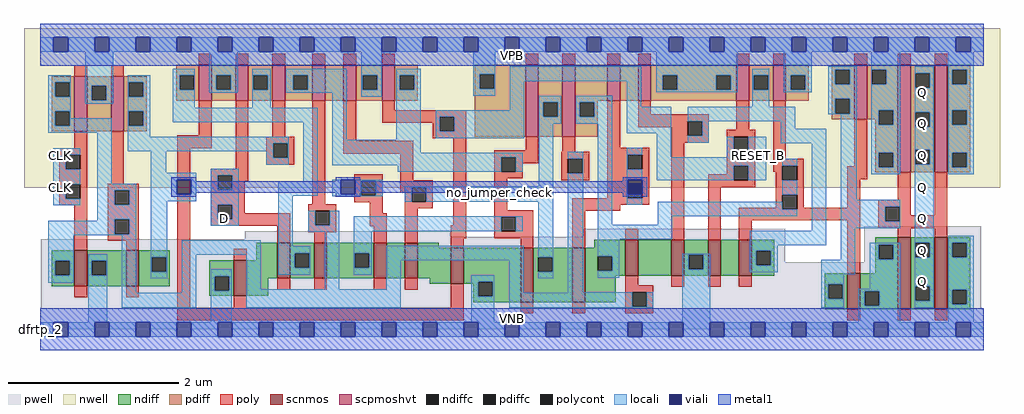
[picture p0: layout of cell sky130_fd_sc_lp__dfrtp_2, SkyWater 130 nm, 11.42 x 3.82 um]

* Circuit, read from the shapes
.subckt sky130_fd_sc_lp__dfrtp_2 CLK D RESET_B VGND VNB VPB VPWR Q
XM1 VGND CLK n1 VNB sky130_fd_pr__nfet_01v8 w=0.42 l=0.15
XM2 n2 n1 VGND VNB sky130_fd_pr__nfet_01v8 w=0.42 l=0.15
XM3 n3 RESET_B VGND VNB sky130_fd_pr__nfet_01v8 w=0.42 l=0.15
XM4 n4 D n3 VNB sky130_fd_pr__nfet_01v8 w=0.42 l=0.15
XM5 n5 n1 n4 VNB sky130_fd_pr__nfet_01v8 w=0.42 l=0.15
XM6 n6 n2 n5 VNB sky130_fd_pr__nfet_01v8 w=0.42 l=0.15
XM7 n7 n8 n6 VNB sky130_fd_pr__nfet_01v8 w=0.42 l=0.15
XM8 VGND RESET_B n7 VNB sky130_fd_pr__nfet_01v8 w=0.42 l=0.15
XM9 n8 n5 VGND VNB sky130_fd_pr__nfet_01v8 w=0.64 l=0.15
XM10 n9 n2 n8 VNB sky130_fd_pr__nfet_01v8 w=0.64 l=0.15
XM11 n10 n1 n9 VNB sky130_fd_pr__nfet_01v8 w=0.42 l=0.15
XM12 VGND n11 n10 VNB sky130_fd_pr__nfet_01v8 w=0.42 l=0.15
XM13 n12 RESET_B VGND VNB sky130_fd_pr__nfet_01v8 w=0.42 l=0.15
XM14 n11 n9 n12 VNB sky130_fd_pr__nfet_01v8 w=0.42 l=0.15
XM15 VGND n9 n13 VNB sky130_fd_pr__nfet_01v8 w=0.42 l=0.15
XM16 Q n13 VGND VNB sky130_fd_pr__nfet_01v8 w=0.84 l=0.15 m=2
XM17 VPWR CLK n1 VPB sky130_fd_pr__pfet_01v8_hvt w=0.64 l=0.15
XM18 n2 n1 VPWR VPB sky130_fd_pr__pfet_01v8_hvt w=0.64 l=0.15
XM19 VPWR RESET_B n4 VPB sky130_fd_pr__pfet_01v8_hvt w=0.42 l=0.15
XM20 n4 D VPWR VPB sky130_fd_pr__pfet_01v8_hvt w=0.42 l=0.15
XM21 n5 n2 n4 VPB sky130_fd_pr__pfet_01v8_hvt w=0.42 l=0.15
XM22 n14 n1 n5 VPB sky130_fd_pr__pfet_01v8_hvt w=0.42 l=0.15
XM23 VPWR n8 n14 VPB sky130_fd_pr__pfet_01v8_hvt w=0.42 l=0.15
XM24 n5 RESET_B VPWR VPB sky130_fd_pr__pfet_01v8_hvt w=0.42 l=0.15
XM25 n8 n5 VPWR VPB sky130_fd_pr__pfet_01v8_hvt w=0.84 l=0.15
XM26 n9 n1 n8 VPB sky130_fd_pr__pfet_01v8_hvt w=0.84 l=0.15
XM27 n15 n2 n9 VPB sky130_fd_pr__pfet_01v8_hvt w=0.42 l=0.15
XM28 VPWR n11 n15 VPB sky130_fd_pr__pfet_01v8_hvt w=0.42 l=0.15
XM29 n11 RESET_B VPWR VPB sky130_fd_pr__pfet_01v8_hvt w=0.42 l=0.15
XM30 VPWR n9 n11 VPB sky130_fd_pr__pfet_01v8_hvt w=0.42 l=0.15
XM31 VPWR n9 n13 VPB sky130_fd_pr__pfet_01v8_hvt w=0.64 l=0.15
XM32 Q n13 VPWR VPB sky130_fd_pr__pfet_01v8_hvt w=1.26 l=0.15 m=2
.ends

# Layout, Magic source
magic
tech sky130A
magscale 1 2
<< nwell >>
rect -38 331 2246 704
<< pwell >>
rect 479 217 959 229
rect 1271 217 1744 235
rect 479 211 1744 217
rect 1 157 1744 211
rect 1928 157 2202 241
rect 1 49 2202 157
rect 0 0 2208 49
<< scnmos >>
rect 80 101 110 185
rect 201 101 231 185
rect 453 78 483 162
rect 555 119 585 203
rect 641 119 671 203
rect 781 119 811 203
rect 853 119 883 203
rect 961 107 991 191
rect 1124 63 1154 191
rect 1245 63 1275 191
rect 1369 125 1399 209
rect 1477 125 1507 209
rect 1563 125 1593 209
rect 1635 125 1665 209
rect 1889 47 1919 131
rect 2007 47 2037 215
rect 2093 47 2123 215
<< scpmoshvt >>
rect 80 464 110 592
rect 166 464 196 592
rect 371 535 401 619
rect 457 535 487 619
rect 543 535 573 619
rect 637 535 667 619
rect 709 535 739 619
rect 800 535 830 619
rect 1136 451 1166 619
rect 1222 451 1252 619
rect 1327 535 1357 619
rect 1399 535 1429 619
rect 1629 535 1659 619
rect 1715 535 1745 619
rect 1905 491 1935 619
rect 2007 367 2037 619
rect 2093 367 2123 619
<< ndiff >>
rect 27 160 80 185
rect 27 126 35 160
rect 69 126 80 160
rect 27 101 80 126
rect 110 160 201 185
rect 110 126 121 160
rect 155 126 201 160
rect 110 101 201 126
rect 231 169 303 185
rect 231 135 261 169
rect 295 135 303 169
rect 231 101 303 135
rect 505 162 555 203
rect 396 124 453 162
rect 396 90 408 124
rect 442 90 453 124
rect 396 78 453 90
rect 483 119 555 162
rect 585 178 641 203
rect 585 144 596 178
rect 630 144 641 178
rect 585 119 641 144
rect 671 178 781 203
rect 671 144 736 178
rect 770 144 781 178
rect 671 119 781 144
rect 811 119 853 203
rect 883 191 933 203
rect 1297 191 1369 209
rect 883 119 961 191
rect 483 78 533 119
rect 911 107 961 119
rect 991 111 1124 191
rect 991 107 1025 111
rect 1013 77 1025 107
rect 1059 77 1124 111
rect 1013 63 1124 77
rect 1154 169 1245 191
rect 1154 135 1165 169
rect 1199 135 1245 169
rect 1154 63 1245 135
rect 1275 171 1369 191
rect 1275 137 1305 171
rect 1339 137 1369 171
rect 1275 125 1369 137
rect 1399 125 1477 209
rect 1507 174 1563 209
rect 1507 140 1518 174
rect 1552 140 1563 174
rect 1507 125 1563 140
rect 1593 125 1635 209
rect 1665 184 1718 209
rect 1665 150 1676 184
rect 1710 150 1718 184
rect 1665 125 1718 150
rect 1954 198 2007 215
rect 1954 164 1962 198
rect 1996 164 2007 198
rect 1954 131 2007 164
rect 1275 63 1347 125
rect 1836 106 1889 131
rect 1836 72 1844 106
rect 1878 72 1889 106
rect 1836 47 1889 72
rect 1919 89 2007 131
rect 1919 55 1930 89
rect 1964 55 2007 89
rect 1919 47 2007 55
rect 2037 203 2093 215
rect 2037 169 2048 203
rect 2082 169 2093 203
rect 2037 101 2093 169
rect 2037 67 2048 101
rect 2082 67 2093 101
rect 2037 47 2093 67
rect 2123 203 2176 215
rect 2123 169 2134 203
rect 2168 169 2176 203
rect 2123 93 2176 169
rect 2123 59 2134 93
rect 2168 59 2176 93
rect 2123 47 2176 59
<< pdiff >>
rect 318 594 371 619
rect 27 578 80 592
rect 27 544 35 578
rect 69 544 80 578
rect 27 510 80 544
rect 27 476 35 510
rect 69 476 80 510
rect 27 464 80 476
rect 110 570 166 592
rect 110 536 121 570
rect 155 536 166 570
rect 110 464 166 536
rect 196 578 249 592
rect 196 544 207 578
rect 241 544 249 578
rect 196 510 249 544
rect 318 560 326 594
rect 360 560 371 594
rect 318 535 371 560
rect 401 594 457 619
rect 401 560 412 594
rect 446 560 457 594
rect 401 535 457 560
rect 487 594 543 619
rect 487 560 498 594
rect 532 560 543 594
rect 487 535 543 560
rect 573 594 637 619
rect 573 560 592 594
rect 626 560 637 594
rect 573 535 637 560
rect 667 535 709 619
rect 739 594 800 619
rect 739 560 755 594
rect 789 560 800 594
rect 739 535 800 560
rect 830 594 883 619
rect 830 560 841 594
rect 875 560 883 594
rect 830 535 883 560
rect 1017 597 1136 619
rect 1017 563 1029 597
rect 1063 563 1136 597
rect 196 476 207 510
rect 241 476 249 510
rect 196 464 249 476
rect 1017 451 1136 563
rect 1166 531 1222 619
rect 1166 497 1177 531
rect 1211 497 1222 531
rect 1166 451 1222 497
rect 1252 535 1327 619
rect 1357 535 1399 619
rect 1429 594 1629 619
rect 1429 560 1457 594
rect 1491 560 1582 594
rect 1616 560 1629 594
rect 1429 535 1629 560
rect 1659 594 1715 619
rect 1659 560 1670 594
rect 1704 560 1715 594
rect 1659 535 1715 560
rect 1745 594 1798 619
rect 1745 560 1756 594
rect 1790 560 1798 594
rect 1745 535 1798 560
rect 1852 607 1905 619
rect 1852 573 1860 607
rect 1894 573 1905 607
rect 1852 539 1905 573
rect 1252 531 1305 535
rect 1252 497 1263 531
rect 1297 497 1305 531
rect 1252 451 1305 497
rect 1852 505 1860 539
rect 1894 505 1905 539
rect 1852 491 1905 505
rect 1935 607 2007 619
rect 1935 573 1946 607
rect 1980 573 2007 607
rect 1935 513 2007 573
rect 1935 491 1962 513
rect 1954 479 1962 491
rect 1996 479 2007 513
rect 1954 413 2007 479
rect 1954 379 1962 413
rect 1996 379 2007 413
rect 1954 367 2007 379
rect 2037 599 2093 619
rect 2037 565 2048 599
rect 2082 565 2093 599
rect 2037 508 2093 565
rect 2037 474 2048 508
rect 2082 474 2093 508
rect 2037 420 2093 474
rect 2037 386 2048 420
rect 2082 386 2093 420
rect 2037 367 2093 386
rect 2123 607 2176 619
rect 2123 573 2134 607
rect 2168 573 2176 607
rect 2123 513 2176 573
rect 2123 479 2134 513
rect 2168 479 2176 513
rect 2123 413 2176 479
rect 2123 379 2134 413
rect 2168 379 2176 413
rect 2123 367 2176 379
<< ndiffc >>
rect 35 126 69 160
rect 121 126 155 160
rect 261 135 295 169
rect 408 90 442 124
rect 596 144 630 178
rect 736 144 770 178
rect 1025 77 1059 111
rect 1165 135 1199 169
rect 1305 137 1339 171
rect 1518 140 1552 174
rect 1676 150 1710 184
rect 1962 164 1996 198
rect 1844 72 1878 106
rect 1930 55 1964 89
rect 2048 169 2082 203
rect 2048 67 2082 101
rect 2134 169 2168 203
rect 2134 59 2168 93
<< pdiffc >>
rect 35 544 69 578
rect 35 476 69 510
rect 121 536 155 570
rect 207 544 241 578
rect 326 560 360 594
rect 412 560 446 594
rect 498 560 532 594
rect 592 560 626 594
rect 755 560 789 594
rect 841 560 875 594
rect 1029 563 1063 597
rect 207 476 241 510
rect 1177 497 1211 531
rect 1457 560 1491 594
rect 1582 560 1616 594
rect 1670 560 1704 594
rect 1756 560 1790 594
rect 1860 573 1894 607
rect 1263 497 1297 531
rect 1860 505 1894 539
rect 1946 573 1980 607
rect 1962 479 1996 513
rect 1962 379 1996 413
rect 2048 565 2082 599
rect 2048 474 2082 508
rect 2048 386 2082 420
rect 2134 573 2168 607
rect 2134 479 2168 513
rect 2134 379 2168 413
<< poly >>
rect 371 619 401 645
rect 457 619 487 645
rect 543 619 573 645
rect 637 619 667 645
rect 709 619 739 645
rect 800 619 830 645
rect 1136 619 1166 645
rect 1222 619 1252 645
rect 1327 619 1357 645
rect 1399 619 1429 645
rect 1629 619 1659 645
rect 1715 619 1745 645
rect 1905 619 1935 645
rect 2007 619 2037 645
rect 2093 619 2123 645
rect 80 592 110 618
rect 166 592 196 618
rect 80 424 110 464
rect 44 408 110 424
rect 44 374 60 408
rect 94 374 110 408
rect 44 340 110 374
rect 166 341 196 464
rect 371 454 401 535
rect 321 424 401 454
rect 44 306 60 340
rect 94 306 110 340
rect 44 290 110 306
rect 80 185 110 290
rect 158 325 231 341
rect 158 291 174 325
rect 208 291 231 325
rect 158 257 231 291
rect 158 223 174 257
rect 208 223 231 257
rect 158 207 231 223
rect 201 185 231 207
rect 80 75 110 101
rect 201 75 231 101
rect 321 51 351 424
rect 457 376 487 535
rect 543 451 573 535
rect 529 435 595 451
rect 529 401 545 435
rect 579 401 595 435
rect 529 385 595 401
rect 399 360 487 376
rect 399 326 415 360
rect 449 346 487 360
rect 449 326 479 346
rect 399 292 479 326
rect 637 293 667 535
rect 709 441 739 535
rect 800 513 830 535
rect 800 497 997 513
rect 800 483 935 497
rect 919 463 935 483
rect 969 463 997 497
rect 919 447 997 463
rect 709 411 873 441
rect 735 347 801 363
rect 735 313 751 347
rect 785 313 801 347
rect 843 349 873 411
rect 843 333 919 349
rect 843 319 869 333
rect 735 297 801 313
rect 399 258 415 292
rect 449 272 479 292
rect 627 277 693 293
rect 449 258 585 272
rect 399 242 585 258
rect 555 203 585 242
rect 627 243 643 277
rect 677 243 693 277
rect 627 227 693 243
rect 771 271 801 297
rect 853 299 869 319
rect 903 299 919 333
rect 853 283 919 299
rect 771 241 811 271
rect 641 203 671 227
rect 781 203 811 241
rect 853 203 883 283
rect 967 243 997 447
rect 1136 419 1166 451
rect 961 213 997 243
rect 1063 403 1166 419
rect 1222 415 1252 451
rect 1327 425 1357 535
rect 1399 503 1429 535
rect 1399 487 1565 503
rect 1399 473 1515 487
rect 1477 453 1515 473
rect 1549 453 1565 487
rect 1629 467 1659 535
rect 1477 437 1565 453
rect 1607 451 1673 467
rect 1063 369 1079 403
rect 1113 389 1166 403
rect 1219 399 1285 415
rect 1113 369 1129 389
rect 1063 353 1129 369
rect 1219 365 1235 399
rect 1269 365 1285 399
rect 1063 279 1093 353
rect 1219 349 1285 365
rect 1327 409 1425 425
rect 1327 375 1375 409
rect 1409 375 1425 409
rect 1327 341 1425 375
rect 1327 307 1375 341
rect 1409 307 1425 341
rect 1245 291 1425 307
rect 1063 263 1154 279
rect 1063 229 1079 263
rect 1113 229 1154 263
rect 1063 213 1154 229
rect 453 162 483 188
rect 961 191 991 213
rect 1124 191 1154 213
rect 1245 277 1357 291
rect 1245 191 1275 277
rect 1369 209 1399 235
rect 1477 209 1507 437
rect 1607 417 1623 451
rect 1657 417 1673 451
rect 1607 383 1673 417
rect 1607 363 1623 383
rect 1563 349 1623 363
rect 1657 349 1673 383
rect 1715 399 1745 535
rect 1715 383 1787 399
rect 1715 369 1737 383
rect 1563 333 1673 349
rect 1721 349 1737 369
rect 1771 349 1787 383
rect 1905 381 1935 491
rect 1563 209 1593 333
rect 1721 315 1787 349
rect 1721 285 1737 315
rect 1635 281 1737 285
rect 1771 285 1787 315
rect 1889 351 1935 381
rect 1889 285 1919 351
rect 2007 303 2037 367
rect 1771 281 1919 285
rect 1635 255 1919 281
rect 1635 209 1665 255
rect 555 93 585 119
rect 641 93 671 119
rect 781 93 811 119
rect 853 93 883 119
rect 453 51 483 78
rect 961 51 991 107
rect 1889 131 1919 255
rect 1961 287 2037 303
rect 1961 253 1977 287
rect 2011 267 2037 287
rect 2093 267 2123 367
rect 2011 253 2123 267
rect 1961 237 2123 253
rect 2007 215 2037 237
rect 2093 215 2123 237
rect 1369 103 1399 125
rect 1369 87 1435 103
rect 1477 99 1507 125
rect 1563 99 1593 125
rect 1635 99 1665 125
rect 321 21 991 51
rect 1124 37 1154 63
rect 1245 37 1275 63
rect 1369 53 1385 87
rect 1419 53 1435 87
rect 1369 37 1435 53
rect 1889 21 1919 47
rect 2007 21 2037 47
rect 2093 21 2123 47
<< polycont >>
rect 60 374 94 408
rect 60 306 94 340
rect 174 291 208 325
rect 174 223 208 257
rect 545 401 579 435
rect 415 326 449 360
rect 935 463 969 497
rect 751 313 785 347
rect 415 258 449 292
rect 643 243 677 277
rect 869 299 903 333
rect 1515 453 1549 487
rect 1079 369 1113 403
rect 1235 365 1269 399
rect 1375 375 1409 409
rect 1375 307 1409 341
rect 1079 229 1113 263
rect 1623 417 1657 451
rect 1623 349 1657 383
rect 1737 349 1771 383
rect 1737 281 1771 315
rect 1977 253 2011 287
rect 1385 53 1419 87
<< locali >>
rect 0 649 31 683
rect 65 649 127 683
rect 161 649 223 683
rect 257 649 319 683
rect 353 649 415 683
rect 449 649 511 683
rect 545 649 607 683
rect 641 649 703 683
rect 737 649 799 683
rect 833 649 895 683
rect 929 649 991 683
rect 1025 649 1087 683
rect 1121 649 1183 683
rect 1217 649 1279 683
rect 1313 649 1375 683
rect 1409 649 1471 683
rect 1505 649 1567 683
rect 1601 649 1663 683
rect 1697 649 1759 683
rect 1793 649 1855 683
rect 1889 649 1951 683
rect 1985 649 2047 683
rect 2081 649 2143 683
rect 2177 649 2208 683
rect 19 578 71 594
rect 19 544 35 578
rect 69 544 71 578
rect 19 510 71 544
rect 105 570 171 649
rect 310 594 362 610
rect 105 536 121 570
rect 155 536 171 570
rect 105 528 171 536
rect 205 578 257 594
rect 205 544 207 578
rect 241 544 257 578
rect 19 476 35 510
rect 69 494 71 510
rect 205 510 257 544
rect 69 476 167 494
rect 19 460 167 476
rect 31 408 94 424
rect 31 374 60 408
rect 31 340 94 374
rect 31 306 60 340
rect 31 290 94 306
rect 133 341 167 460
rect 205 476 207 510
rect 241 476 257 510
rect 310 560 326 594
rect 360 560 362 594
rect 310 519 362 560
rect 396 594 462 649
rect 396 560 412 594
rect 446 560 462 594
rect 396 553 462 560
rect 496 594 540 610
rect 496 560 498 594
rect 532 560 540 594
rect 496 519 540 560
rect 574 594 717 610
rect 574 560 592 594
rect 626 560 717 594
rect 574 553 717 560
rect 310 485 649 519
rect 205 451 257 476
rect 205 435 581 451
rect 205 417 545 435
rect 259 366 295 417
rect 529 401 545 417
rect 579 401 581 435
rect 529 385 581 401
rect 259 350 365 366
rect 133 325 225 341
rect 133 291 174 325
rect 208 291 225 325
rect 133 257 225 291
rect 133 254 174 257
rect 19 223 174 254
rect 208 223 225 257
rect 19 220 225 223
rect 19 160 78 220
rect 19 126 35 160
rect 69 126 78 160
rect 19 109 78 126
rect 112 160 157 176
rect 112 126 121 160
rect 155 126 157 160
rect 112 17 157 126
rect 191 85 225 220
rect 259 316 319 350
rect 353 316 365 350
rect 259 300 365 316
rect 399 360 465 376
rect 399 326 415 360
rect 449 326 465 360
rect 615 347 649 485
rect 683 444 717 553
rect 751 594 799 649
rect 751 560 755 594
rect 789 560 799 594
rect 751 544 799 560
rect 833 594 891 610
rect 833 560 841 594
rect 875 560 891 594
rect 833 444 891 560
rect 1013 597 1065 649
rect 1013 563 1029 597
rect 1063 563 1065 597
rect 1013 547 1065 563
rect 1099 581 1407 615
rect 1099 513 1133 581
rect 925 497 1133 513
rect 925 463 935 497
rect 969 463 1133 497
rect 925 447 1133 463
rect 1167 531 1219 547
rect 1167 497 1177 531
rect 1211 497 1219 531
rect 1167 481 1219 497
rect 1253 531 1339 547
rect 1253 497 1263 531
rect 1297 497 1339 531
rect 1253 481 1339 497
rect 683 413 891 444
rect 683 403 1129 413
rect 683 384 1079 403
rect 837 369 1079 384
rect 1113 369 1129 403
rect 259 169 297 300
rect 399 292 465 326
rect 399 258 415 292
rect 449 258 465 292
rect 399 242 465 258
rect 557 313 649 347
rect 683 316 703 350
rect 737 347 801 350
rect 737 316 751 347
rect 683 313 751 316
rect 785 313 801 347
rect 1167 335 1201 481
rect 259 135 261 169
rect 295 135 297 169
rect 259 119 297 135
rect 331 174 516 208
rect 331 85 365 174
rect 191 51 365 85
rect 399 124 448 140
rect 399 90 408 124
rect 442 90 448 124
rect 399 17 448 90
rect 482 94 516 174
rect 557 194 591 313
rect 683 311 801 313
rect 853 333 1201 335
rect 853 299 869 333
rect 903 299 1201 333
rect 627 243 643 277
rect 677 243 700 277
rect 627 228 700 243
rect 557 178 632 194
rect 557 144 596 178
rect 630 144 632 178
rect 557 128 632 144
rect 666 94 700 228
rect 734 263 1129 265
rect 734 229 1079 263
rect 1113 229 1129 263
rect 734 178 776 229
rect 734 144 736 178
rect 770 144 776 178
rect 734 128 776 144
rect 810 161 1131 195
rect 810 94 844 161
rect 482 51 844 94
rect 1009 111 1063 127
rect 1009 77 1025 111
rect 1059 77 1063 111
rect 1009 17 1063 77
rect 1097 85 1131 161
rect 1165 169 1201 299
rect 1199 135 1201 169
rect 1165 119 1201 135
rect 1235 399 1271 415
rect 1269 365 1271 399
rect 1235 87 1271 365
rect 1305 245 1339 481
rect 1373 521 1407 581
rect 1441 594 1632 649
rect 1441 560 1457 594
rect 1491 560 1582 594
rect 1616 560 1632 594
rect 1441 555 1632 560
rect 1666 594 1706 610
rect 1666 560 1670 594
rect 1704 560 1706 594
rect 1666 521 1706 560
rect 1740 594 1806 649
rect 1740 560 1756 594
rect 1790 560 1806 594
rect 1740 555 1806 560
rect 1844 607 1911 615
rect 1844 573 1860 607
rect 1894 573 1911 607
rect 1844 539 1911 573
rect 1373 459 1477 521
rect 1373 409 1409 425
rect 1373 375 1375 409
rect 1373 350 1409 375
rect 1373 307 1375 350
rect 1443 403 1477 459
rect 1515 487 1767 521
rect 1844 505 1860 539
rect 1894 505 1911 539
rect 1844 503 1911 505
rect 1549 453 1565 487
rect 1515 437 1565 453
rect 1733 469 1767 487
rect 1607 417 1623 451
rect 1657 417 1699 451
rect 1733 435 1839 469
rect 1607 403 1699 417
rect 1443 383 1699 403
rect 1443 349 1623 383
rect 1657 349 1699 383
rect 1737 383 1771 399
rect 1373 291 1409 307
rect 1737 315 1771 349
rect 1445 281 1737 299
rect 1445 265 1771 281
rect 1445 245 1479 265
rect 1305 211 1479 245
rect 1805 231 1839 435
rect 1305 171 1355 211
rect 1660 197 1839 231
rect 1873 303 1911 503
rect 1945 607 2012 649
rect 1945 573 1946 607
rect 1980 573 2012 607
rect 1945 513 2012 573
rect 1945 479 1962 513
rect 1996 479 2012 513
rect 1945 413 2012 479
rect 1945 379 1962 413
rect 1996 379 2012 413
rect 1945 363 2012 379
rect 2046 599 2091 615
rect 2046 565 2048 599
rect 2082 565 2091 599
rect 2046 508 2091 565
rect 2046 474 2048 508
rect 2082 474 2091 508
rect 2046 420 2091 474
rect 2046 386 2048 420
rect 2082 386 2091 420
rect 1873 287 2012 303
rect 1873 253 1977 287
rect 2011 253 2012 287
rect 1873 237 2012 253
rect 1660 184 1726 197
rect 1339 137 1355 171
rect 1305 121 1355 137
rect 1502 174 1568 177
rect 1502 140 1518 174
rect 1552 140 1568 174
rect 1235 85 1385 87
rect 1097 53 1385 85
rect 1419 53 1435 87
rect 1097 51 1435 53
rect 1502 17 1568 140
rect 1660 150 1676 184
rect 1710 150 1726 184
rect 1873 163 1907 237
rect 2046 203 2091 386
rect 2125 607 2184 649
rect 2125 573 2134 607
rect 2168 573 2184 607
rect 2125 513 2184 573
rect 2125 479 2134 513
rect 2168 479 2184 513
rect 2125 413 2184 479
rect 2125 379 2134 413
rect 2168 379 2184 413
rect 2125 363 2184 379
rect 1660 134 1726 150
rect 1828 129 1907 163
rect 1941 198 2012 203
rect 1941 164 1962 198
rect 1996 164 2012 198
rect 1828 106 1880 129
rect 1828 72 1844 106
rect 1878 72 1880 106
rect 1941 95 2012 164
rect 1828 51 1880 72
rect 1914 89 2012 95
rect 1914 55 1930 89
rect 1964 55 2012 89
rect 1914 17 2012 55
rect 2046 169 2048 203
rect 2082 169 2091 203
rect 2046 101 2091 169
rect 2046 67 2048 101
rect 2082 67 2091 101
rect 2046 51 2091 67
rect 2125 203 2184 219
rect 2125 169 2134 203
rect 2168 169 2184 203
rect 2125 93 2184 169
rect 2125 59 2134 93
rect 2168 59 2184 93
rect 2125 17 2184 59
rect 0 -17 31 17
rect 65 -17 127 17
rect 161 -17 223 17
rect 257 -17 319 17
rect 353 -17 415 17
rect 449 -17 511 17
rect 545 -17 607 17
rect 641 -17 703 17
rect 737 -17 799 17
rect 833 -17 895 17
rect 929 -17 991 17
rect 1025 -17 1087 17
rect 1121 -17 1183 17
rect 1217 -17 1279 17
rect 1313 -17 1375 17
rect 1409 -17 1471 17
rect 1505 -17 1567 17
rect 1601 -17 1663 17
rect 1697 -17 1759 17
rect 1793 -17 1855 17
rect 1889 -17 1951 17
rect 1985 -17 2047 17
rect 2081 -17 2143 17
rect 2177 -17 2208 17
<< viali >>
rect 31 649 65 683
rect 127 649 161 683
rect 223 649 257 683
rect 319 649 353 683
rect 415 649 449 683
rect 511 649 545 683
rect 607 649 641 683
rect 703 649 737 683
rect 799 649 833 683
rect 895 649 929 683
rect 991 649 1025 683
rect 1087 649 1121 683
rect 1183 649 1217 683
rect 1279 649 1313 683
rect 1375 649 1409 683
rect 1471 649 1505 683
rect 1567 649 1601 683
rect 1663 649 1697 683
rect 1759 649 1793 683
rect 1855 649 1889 683
rect 1951 649 1985 683
rect 2047 649 2081 683
rect 2143 649 2177 683
rect 319 316 353 350
rect 703 316 737 350
rect 1375 341 1409 350
rect 1375 316 1409 341
rect 31 -17 65 17
rect 127 -17 161 17
rect 223 -17 257 17
rect 319 -17 353 17
rect 415 -17 449 17
rect 511 -17 545 17
rect 607 -17 641 17
rect 703 -17 737 17
rect 799 -17 833 17
rect 895 -17 929 17
rect 991 -17 1025 17
rect 1087 -17 1121 17
rect 1183 -17 1217 17
rect 1279 -17 1313 17
rect 1375 -17 1409 17
rect 1471 -17 1505 17
rect 1567 -17 1601 17
rect 1663 -17 1697 17
rect 1759 -17 1793 17
rect 1855 -17 1889 17
rect 1951 -17 1985 17
rect 2047 -17 2081 17
rect 2143 -17 2177 17
<< metal1 >>
rect 0 683 2208 715
rect 0 649 31 683
rect 65 649 127 683
rect 161 649 223 683
rect 257 649 319 683
rect 353 649 415 683
rect 449 649 511 683
rect 545 649 607 683
rect 641 649 703 683
rect 737 649 799 683
rect 833 649 895 683
rect 929 649 991 683
rect 1025 649 1087 683
rect 1121 649 1183 683
rect 1217 649 1279 683
rect 1313 649 1375 683
rect 1409 649 1471 683
rect 1505 649 1567 683
rect 1601 649 1663 683
rect 1697 649 1759 683
rect 1793 649 1855 683
rect 1889 649 1951 683
rect 1985 649 2047 683
rect 2081 649 2143 683
rect 2177 649 2208 683
rect 0 617 2208 649
rect 307 350 365 356
rect 307 316 319 350
rect 353 347 365 350
rect 691 350 749 356
rect 691 347 703 350
rect 353 319 703 347
rect 353 316 365 319
rect 307 310 365 316
rect 691 316 703 319
rect 737 347 749 350
rect 1363 350 1421 356
rect 1363 347 1375 350
rect 737 319 1375 347
rect 737 316 749 319
rect 691 310 749 316
rect 1363 316 1375 319
rect 1409 316 1421 350
rect 1363 310 1421 316
rect 0 17 2208 49
rect 0 -17 31 17
rect 65 -17 127 17
rect 161 -17 223 17
rect 257 -17 319 17
rect 353 -17 415 17
rect 449 -17 511 17
rect 545 -17 607 17
rect 641 -17 703 17
rect 737 -17 799 17
rect 833 -17 895 17
rect 929 -17 991 17
rect 1025 -17 1087 17
rect 1121 -17 1183 17
rect 1217 -17 1279 17
rect 1313 -17 1375 17
rect 1409 -17 1471 17
rect 1505 -17 1567 17
rect 1601 -17 1663 17
rect 1697 -17 1759 17
rect 1793 -17 1855 17
rect 1889 -17 1951 17
rect 1985 -17 2047 17
rect 2081 -17 2143 17
rect 2177 -17 2208 17
rect 0 -49 2208 -17
<< labels >>
flabel pwell s 0 0 2208 49 0 FreeSans 200 0 0 0 VNB
port 5 nsew ground bidirectional
flabel nwell s 0 617 2208 666 0 FreeSans 200 0 0 0 VPB
port 6 nsew power bidirectional
rlabel comment s 0 0 0 0 4 dfrtp_2
flabel comment s 1075 320 1075 320 0 FreeSans 200 90 0 0 no_jumper_check
flabel metal1 s 0 617 2208 666 0 FreeSans 340 0 0 0 VPWR
port 7 nsew power bidirectional
flabel metal1 s 0 0 2208 49 0 FreeSans 340 0 0 0 VGND
port 4 nsew ground bidirectional
flabel locali s 1663 390 1697 424 0 FreeSans 340 0 0 0 RESET_B
port 3 nsew signal input
flabel locali s 31 316 65 350 0 FreeSans 340 0 0 0 CLK
port 1 nsew clock input
flabel locali s 31 390 65 424 0 FreeSans 340 0 0 0 CLK
port 1 nsew clock input
flabel locali s 415 242 449 276 0 FreeSans 340 0 0 0 D
port 2 nsew signal input
flabel locali s 2047 94 2081 128 0 FreeSans 340 0 0 0 Q
port 8 nsew signal output
flabel locali s 2047 168 2081 202 0 FreeSans 340 0 0 0 Q
port 8 nsew signal output
flabel locali s 2047 242 2081 276 0 FreeSans 340 0 0 0 Q
port 8 nsew signal output
flabel locali s 2047 316 2081 350 0 FreeSans 340 0 0 0 Q
port 8 nsew signal output
flabel locali s 2047 390 2081 424 0 FreeSans 340 0 0 0 Q
port 8 nsew signal output
flabel locali s 2047 464 2081 498 0 FreeSans 340 0 0 0 Q
port 8 nsew signal output
flabel locali s 2047 538 2081 572 0 FreeSans 340 0 0 0 Q
port 8 nsew signal output
<< properties >>
string LEFsite unit
string LEFclass CORE
string FIXED_BBOX 0 0 2208 666
string GDS_FILE $PDKPATH/libs.ref/sky130_fd_sc_lp/gds/sky130_fd_sc_lp.gds
string LEFsymmetry X Y R90
string GDS_END 587510
string GDS_START 570812
<< end >>
